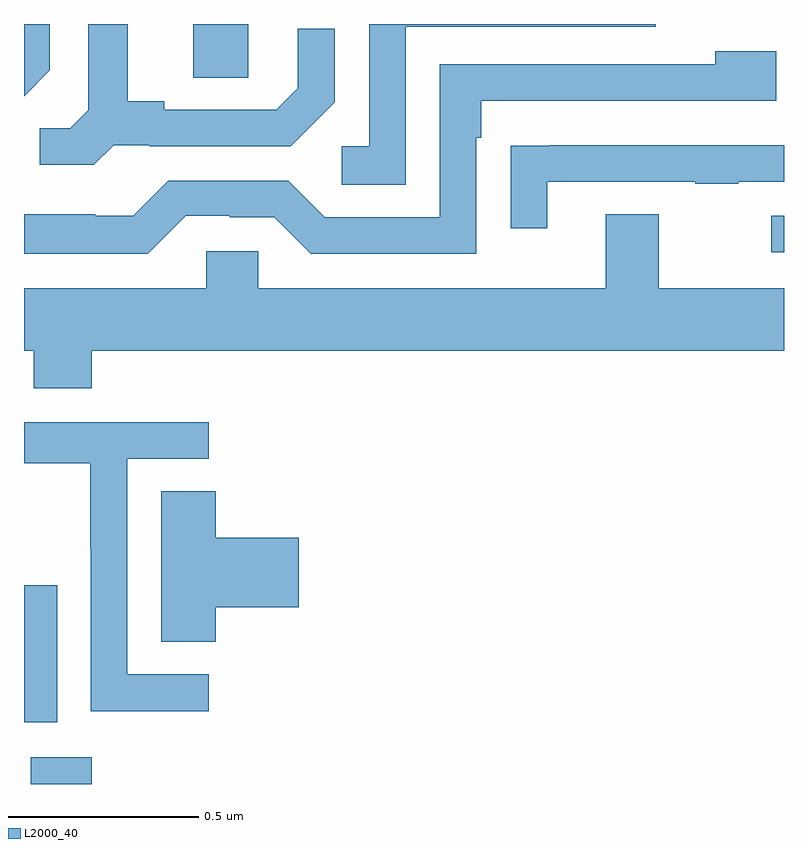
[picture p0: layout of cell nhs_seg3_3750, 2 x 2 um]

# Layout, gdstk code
import gdstk
lib = gdstk.Library(unit=1e-6, precision=1e-09)
def R(c, l, rs):  # rectangles x0, y0, x1, y1
    for r in rs: c.add(gdstk.rectangle(r[:2], r[2:], *l))
def P(c, l, *ps):  # polygons
    for p in ps: c.add(gdstk.Polygon(p, *l))
L2000_40 = (2000, 40)

nhs_seg3_3750 = lib.new_cell('nhs_seg3_3750')
R(nhs_seg3_3750, L2000_40, [(157.018,742.4,157.178,742.471), (157,742.562,157.087,742.923), (158.967,743.799,159,743.895), (157.445,744.259,157.59,744.4)])
P(nhs_seg3_3750, L2000_40, [(157.236,744.081),(157.33,744.081),(157.33,744.078),(157.702,744.078),(157.818,744.194),(157.818,744.388),(157.721,744.388),(157.721,744.231),(157.664,744.174),(157.369,744.174),(157.369,744.197),(157.273,744.197),(157.273,744.4),(157.169,744.4),(157.169,744.173),(157.122,744.126),(157.041,744.126),(157.041,744.029),(157.184,744.029)],
  [(157.068,744.278),(157.068,744.4),(157,744.4),(157,744.21)],
  [(158.004,744.393),(158.663,744.393),(158.663,744.4),(157.908,744.4),(157.908,744.078),(157.836,744.078),(157.836,743.977),(158.004,743.977)],
  [(157.425,743.895),(157.541,743.895),(157.541,743.892),(157.659,743.892),(157.755,743.796),(158.19,743.796),(158.19,744.101),(158.203,744.101),(158.203,744.198),(158.98,744.198),(158.98,744.328),(158.819,744.328),(158.819,744.294),(158.094,744.294),(158.094,743.892),(157.791,743.892),(157.695,743.988),(157.38,743.988),(157.287,743.895),(157.187,743.895),(157.187,743.899),(157,743.899),(157,743.795),(157.325,743.795)],
  [(158.377,743.985),(158.767,743.985),(158.767,743.98),(158.879,743.98),(158.879,743.985),(159,743.985),(159,744.081),(158.383,744.081),(158.383,744.08),(158.281,744.08),(158.281,743.862),(158.377,743.862)],
  [(157.178,743.54),(159,743.54),(159,743.704),(158.671,743.704),(158.671,743.899),(158.531,743.899),(158.531,743.704),(157.617,743.704),(157.617,743.802),(157.479,743.802),(157.479,743.704),(157,743.704),(157,743.54),(157.025,743.54),(157.025,743.441),(157.178,743.441)],
  [(157.486,742.689),(157.272,742.689),(157.272,743.256),(157.486,743.256),(157.486,743.352),(157,743.352),(157,743.244),(157.174,743.244),(157.174,743.02),(157.176,743.02),(157.176,742.591),(157.486,742.591)],
  [(157.505,742.865),(157.723,742.865),(157.723,743.048),(157.505,743.048),(157.505,743.171),(157.361,743.171),(157.361,742.774),(157.505,742.774)])

lib.write_gds('nhs_seg3_3750.gds')
